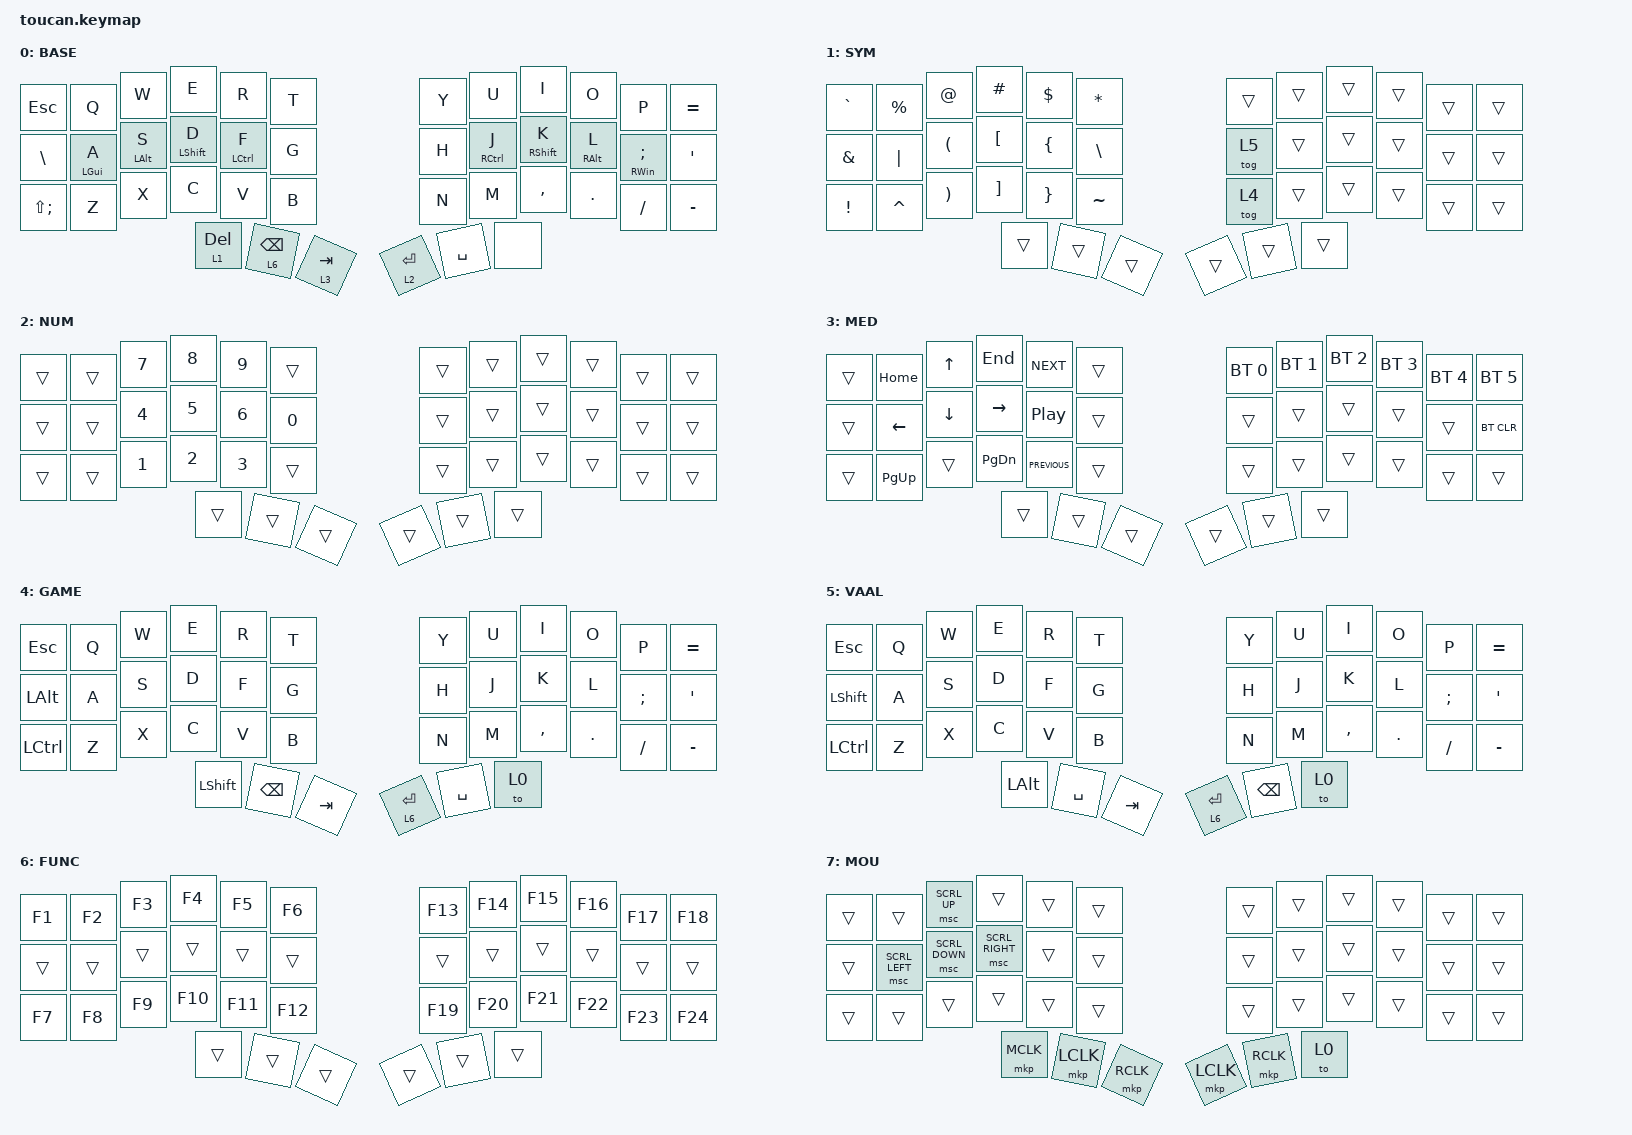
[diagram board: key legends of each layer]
#include <behaviors.dtsi>
#include <dt-bindings/zmk/keys.h>
#include <dt-bindings/zmk/bt.h>
#include <dt-bindings/zmk/outputs.h>
#include <dt-bindings/zmk/pointing.h>

#define BASE 0
#define SYM  1
#define NUM  2
#define MEDIA  3
#define GAME 4
#define VAAL 5
#define FUNC 6
#define MOU 7

/ {
    behaviors {
        hm: homerow_mods {
            compatible = "zmk,behavior-hold-tap";
            label = "HOMEROW_MODS";
            #binding-cells = <2>;
            tapping-term-ms = <200>;
            quick-tap-ms = <125>;
            flavor = "tap-preferred";
            bindings = <&kp>, <&kp>;
        };

        lth: layer_tap_hold {
            compatible = "zmk,behavior-hold-tap";
            label = "LAYER_TAP_HOLD";
            #binding-cells = <2>;
            tapping-term-ms = <200>;
            quick-tap-ms = <200>;
            flavor = "tap-preferred";
            bindings = <&mo>, <&kp>;
        };
    };

    keymap {
        compatible = "zmk,keymap";

        default_layer {
            display-name = "BASE";
            bindings = <
                &kp ESCAPE         &kp Q           &kp W           &kp E             &kp R               &kp T      &kp Y  &kp U                &kp I              &kp O            &kp P               &kp EQUAL
                &kp BACKSLASH      &hm LEFT_GUI A  &hm LEFT_ALT S  &hm LEFT_SHIFT D  &hm LEFT_CONTROL F  &kp G      &kp H  &hm RIGHT_CONTROL J  &hm RIGHT_SHIFT K  &hm RIGHT_ALT L  &hm RIGHT_WIN SEMI  &kp SINGLE_QUOTE
                &kp LS(SEMICOLON)  &kp Z           &kp X           &kp C             &kp V               &kp B      &kp N  &kp M                &kp COMMA          &kp DOT          &kp FSLH            &kp MINUS
                &lth 1 DELETE  &lth 6 BACKSPACE  &lth 3 TAB                                                         &lth 2 ENTER  &kp SPACE  &none
            >;
        };

        symbol_layer {
            display-name = "SYM";
            bindings = <
                &kp GRAVE        &kp PERCENT  &kp AT_SIGN            &kp HASH           &kp DOLLAR       &kp ASTERISK   &trans  &trans  &trans  &trans  &trans  &trans
                &kp AMPERSAND    &kp PIPE     &kp LEFT_PARENTHESIS   &kp LEFT_BRACKET   &kp LEFT_BRACE   &kp BACKSLASH  &tog 5  &trans  &trans  &trans  &trans  &trans
                &kp EXCLAMATION  &kp CARET    &kp RIGHT_PARENTHESIS  &kp RIGHT_BRACKET  &kp RIGHT_BRACE  &kp TILDE      &tog 4  &trans  &trans  &trans  &trans  &trans
                &trans  &trans  &trans                                                                                  &trans  &trans  &trans
            >;
        };

        numpad_layer {
            display-name = "NUM";
            bindings = <
                &trans  &trans  &kp NUMBER_7  &kp NUMBER_8  &kp NUMBER_9  &trans        &trans  &trans  &trans  &trans  &trans  &trans
                &trans  &trans  &kp NUMBER_4  &kp NUMBER_5  &kp NUMBER_6  &kp NUMBER_0  &trans  &trans  &trans  &trans  &trans  &trans
                &trans  &trans  &kp NUMBER_1  &kp NUMBER_2  &kp NUMBER_3  &trans        &trans  &trans  &trans  &trans  &trans  &trans
                &trans  &trans  &trans                                                  &trans  &trans  &trans
            >;
        };

        media_layer {
            display-name = "MED";
            bindings = <
                &trans  &kp HOME        &kp UP_ARROW    &kp END          &kp C_NEXT        &trans   &bt BT_SEL 0  &bt BT_SEL 1  &bt BT_SEL 2  &bt BT_SEL 3  &bt BT_SEL 4  &bt BT_SEL 5
                &trans  &kp LEFT_ARROW  &kp DOWN_ARROW  &kp RIGHT_ARROW  &kp C_PLAY_PAUSE  &trans   &trans        &trans        &trans        &trans        &trans        &bt BT_CLR
                &trans  &kp PG_UP       &trans          &kp PG_DN        &kp C_PREVIOUS    &trans   &trans        &trans        &trans        &trans        &trans        &trans
                &trans  &trans  &trans  &trans  &trans  &trans
            >;
        };

        games_layer {
            display-name = "GAME";
            bindings = <
                &kp ESCAPE        &kp Q  &kp W  &kp E  &kp R  &kp T     &kp Y  &kp U  &kp I      &kp O    &kp P          &kp EQUAL
                &kp LEFT_ALT      &kp A  &kp S  &kp D  &kp F  &kp G     &kp H  &kp J  &kp K      &kp L    &kp SEMICOLON  &kp SINGLE_QUOTE
                &kp LEFT_CONTROL  &kp Z  &kp X  &kp C  &kp V  &kp B     &kp N  &kp M  &kp COMMA  &kp DOT  &kp FSLH       &kp MINUS
                &kp LEFT_SHIFT  &kp BSPC  &kp TAB                       &lt 6 ENTER  &kp SPACE  &to 0
            >;
        };

        val_layer {
            display-name = "VAAL";
            bindings = <
                &kp ESCAPE        &kp Q  &kp W  &kp E  &kp R  &kp T     &kp Y  &kp U  &kp I     &kp O    &kp P          &kp EQUAL
                &kp LEFT_SHIFT    &kp A  &kp S  &kp D  &kp F  &kp G     &kp H  &kp J  &kp K     &kp L    &kp SEMICOLON  &kp SINGLE_QUOTE
                &kp LEFT_CONTROL  &kp Z  &kp X  &kp C  &kp V  &kp B     &kp N  &kp M  &kp COMMA &kp DOT  &kp FSLH       &kp MINUS
                &kp LEFT_ALT  &kp SPACE  &kp TAB                        &lt 6 ENTER  &kp BACKSPACE  &to 0
            >;
        };

        func_layer {
            display-name = "FUNC";
            bindings = <
                &kp F1  &kp F2  &kp F3  &kp F4  &kp F5  &kp F6      &kp F13  &kp F14  &kp F15  &kp F16  &kp F17  &kp F18
                &trans  &trans  &trans  &trans  &trans  &trans      &trans   &trans   &trans   &trans   &trans   &trans
                &kp F7  &kp F8  &kp F9  &kp F10 &kp F11 &kp F12     &kp F19  &kp F20  &kp F21  &kp F22  &kp F23  &kp F24
                &trans  &trans  &trans                              &trans   &trans   &trans
            >;
        };
        mouse {
            display-name = "MOU";
            bindings = <
                &trans &trans &msc SCRL_UP &trans &trans &trans                     &trans &trans &trans &trans &trans &trans
                &trans &msc SCRL_LEFT &msc SCRL_DOWN &msc SCRL_RIGHT &trans &trans  &trans &trans &trans &trans &trans &trans
                &trans &trans &trans &trans &trans &trans                           &trans &trans &trans &trans &trans &trans
                            &mkp MCLK &mkp LCLK &mkp RCLK                           &mkp LCLK &mkp RCLK &to 0
            >;
        };
    };
};
